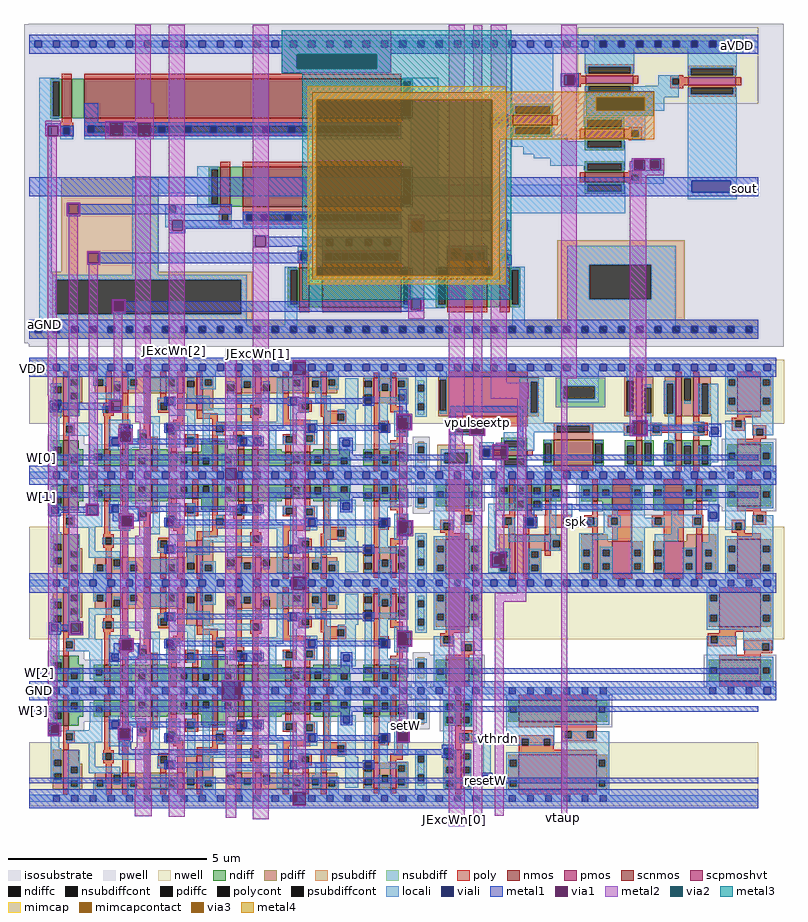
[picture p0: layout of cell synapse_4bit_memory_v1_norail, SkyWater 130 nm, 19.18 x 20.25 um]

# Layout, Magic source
magic
tech sky130A
magscale 1 2
<< isosubstrate >>
rect 2868 9593 6679 11223
<< nwell >>
rect 2871 9205 3046 9526
rect 4828 9205 4882 9526
rect 6384 9205 6551 9526
rect 4927 8684 6222 8685
rect 2871 8117 2956 8683
rect 4927 8672 6551 8684
rect 4927 8380 6222 8672
rect 6296 8380 6551 8672
rect 4927 8116 6551 8380
rect 2871 7274 2957 7595
rect 4888 7274 6551 7595
rect 5186 7273 6551 7274
<< psubdiff >>
rect 2871 9671 3169 9700
<< locali >>
rect 6387 11107 6551 11136
rect 6387 11103 6507 11107
rect 2922 9697 3366 9757
rect 2878 9663 6522 9697
rect 6544 9663 6551 9697
rect 2873 9504 2882 9505
rect 2873 9495 2928 9504
rect 2873 9474 2940 9495
rect 2873 9471 2928 9474
rect 6550 9471 6551 9505
rect 5144 9075 5217 9110
rect 5144 9062 5162 9075
rect 5196 9062 5217 9075
rect 5196 9058 5215 9062
rect 2871 8927 2965 8961
rect 6346 8927 6551 8961
rect 5581 8687 5714 8729
rect 2871 8383 2965 8417
rect 4889 8383 5188 8417
rect 6338 8386 6551 8417
rect 6356 8383 6551 8386
rect 2871 7839 3327 7873
rect 5163 7839 6551 7873
rect 5054 7636 5193 7637
rect 5054 7598 5202 7636
rect 5162 7438 5202 7598
rect 5158 7429 5211 7438
rect 5158 7395 5164 7429
rect 5198 7395 5211 7429
rect 5158 7388 5211 7395
rect 2873 7329 3070 7330
rect 2871 7320 3070 7329
rect 2871 7296 2968 7320
rect 2871 7295 2967 7296
rect 5146 7295 6551 7329
<< viali >>
rect 2988 9273 3022 9307
rect 4740 9197 4774 9231
rect 5117 9160 5151 9194
rect 6315 9152 6349 9186
rect 4455 9090 4489 9124
rect 5162 9041 5196 9075
rect 2983 8751 3017 8785
rect 4454 8770 4488 8804
rect 5384 8689 5418 8723
rect 4740 8655 4774 8689
rect 6307 8724 6341 8758
rect 5222 8498 5256 8532
rect 2982 8157 3016 8191
rect 4740 8111 4774 8145
rect 4456 8005 4490 8039
rect 4456 7693 4490 7727
rect 2983 7644 3017 7678
rect 4737 7607 4771 7641
rect 4967 7533 5001 7567
rect 5164 7395 5198 7429
<< metal1 >>
rect 6447 10355 6550 10446
rect 3855 9658 3926 9717
rect 4195 9452 4201 9518
rect 4267 9452 4273 9518
rect 3274 9320 3340 9326
rect 2976 9310 3035 9319
rect 3274 9310 3282 9320
rect 2976 9307 3282 9310
rect 2976 9273 2988 9307
rect 3022 9274 3282 9307
rect 3022 9273 3035 9274
rect 2976 9261 3035 9273
rect 3274 9267 3282 9274
rect 3335 9312 3340 9320
rect 3335 9267 3342 9312
rect 3274 9259 3342 9267
rect 4738 9254 4777 9379
rect 4997 9263 5364 9291
rect 4723 9247 4804 9254
rect 4723 9179 4730 9247
rect 4798 9179 4804 9247
rect 3321 9165 3394 9178
rect 4723 9170 4804 9179
rect 3321 9112 3330 9165
rect 3383 9112 3394 9165
rect 3321 9103 3394 9112
rect 4436 9124 4505 9132
rect 4436 9090 4455 9124
rect 4489 9090 4505 9124
rect 4436 9048 4505 9090
rect 4997 9048 5025 9263
rect 5093 9218 5174 9225
rect 5093 9150 5099 9218
rect 5167 9150 5174 9218
rect 5093 9144 5174 9150
rect 5208 9094 5288 9100
rect 2871 9020 5025 9048
rect 5144 9075 5214 9094
rect 5144 9041 5162 9075
rect 5196 9041 5214 9075
rect 5144 9026 5214 9041
rect 5282 9026 5288 9094
rect 5336 9048 5364 9263
rect 5915 9216 5993 9222
rect 5915 9198 5920 9216
rect 5911 9169 5920 9198
rect 5915 9148 5920 9169
rect 5988 9198 5993 9216
rect 6303 9198 6365 9204
rect 5988 9186 6365 9198
rect 5988 9169 6315 9186
rect 5988 9148 5993 9169
rect 5915 9140 5993 9148
rect 6303 9152 6315 9169
rect 6349 9152 6365 9186
rect 6303 9138 6365 9152
rect 5144 9024 5288 9026
rect 5208 9020 5288 9024
rect 5333 9020 6551 9048
rect 2871 8896 2965 8992
rect 3855 8920 3861 8979
rect 3920 8920 3926 8979
rect 6360 8896 6551 8992
rect 2871 8830 6551 8858
rect 4442 8804 4501 8830
rect 2969 8785 3030 8796
rect 3156 8795 3223 8801
rect 3156 8785 3163 8795
rect 2969 8751 2983 8785
rect 3017 8754 3163 8785
rect 3017 8751 3030 8754
rect 2969 8738 3030 8751
rect 3156 8742 3163 8754
rect 3216 8742 3223 8795
rect 3156 8739 3223 8742
rect 3294 8739 3427 8785
rect 4442 8770 4454 8804
rect 4488 8770 4501 8804
rect 4442 8758 4501 8770
rect 5386 8770 6354 8798
rect 3294 8712 3338 8739
rect 3322 8686 3338 8712
rect 3391 8712 3427 8739
rect 5386 8735 5420 8770
rect 6296 8758 6353 8770
rect 5372 8723 5430 8735
rect 3391 8686 3398 8712
rect 3322 8675 3398 8686
rect 4727 8711 4809 8718
rect 4727 8643 4734 8711
rect 4802 8643 4809 8711
rect 5372 8689 5384 8723
rect 5418 8689 5430 8723
rect 6296 8724 6307 8758
rect 6341 8724 6353 8758
rect 6296 8712 6353 8724
rect 5372 8676 5430 8689
rect 4727 8636 4809 8643
rect 5199 8550 5280 8554
rect 5199 8482 5205 8550
rect 5273 8482 5280 8550
rect 5199 8476 5280 8482
rect 2871 8352 2968 8448
rect 4201 8431 4267 8437
rect 4195 8365 4201 8431
rect 4267 8365 4273 8431
rect 4201 8359 4267 8365
rect 4882 8352 5176 8448
rect 6353 8352 6551 8448
rect 2972 8191 3031 8203
rect 2972 8157 2982 8191
rect 3016 8189 3031 8191
rect 3072 8198 3142 8208
rect 3072 8189 3082 8198
rect 3016 8158 3082 8189
rect 3016 8157 3031 8158
rect 2972 8140 3031 8157
rect 3072 8145 3082 8158
rect 3135 8145 3142 8198
rect 4728 8159 4784 8161
rect 3072 8137 3142 8145
rect 4726 8153 4805 8159
rect 3328 8113 3399 8120
rect 3328 8095 3339 8113
rect 3299 8060 3339 8095
rect 3392 8095 3399 8113
rect 3392 8060 3427 8095
rect 4726 8085 4731 8153
rect 4799 8085 4805 8153
rect 4726 8078 4805 8085
rect 3299 8021 3427 8060
rect 4444 8039 4502 8051
rect 4444 8005 4456 8039
rect 4490 8005 4502 8039
rect 4444 7969 4502 8005
rect 2871 7941 6551 7969
rect 2871 7808 3842 7904
rect 3938 7808 6551 7904
rect 2871 7749 6551 7777
rect 4444 7727 4502 7749
rect 2964 7687 3032 7695
rect 2964 7634 2971 7687
rect 3024 7634 3032 7687
rect 4444 7693 4456 7727
rect 4490 7693 4502 7727
rect 4444 7681 4502 7693
rect 2964 7627 3032 7634
rect 3322 7668 3387 7674
rect 3322 7615 3326 7668
rect 3379 7615 3387 7668
rect 4727 7657 4791 7662
rect 3322 7562 3387 7615
rect 4724 7655 4791 7657
rect 4724 7602 4732 7655
rect 4785 7602 4791 7655
rect 4724 7596 4791 7602
rect 4724 7593 4787 7596
rect 4954 7567 5013 7583
rect 4954 7562 4967 7567
rect 3322 7534 4967 7562
rect 4954 7533 4967 7534
rect 5001 7533 5013 7567
rect 4954 7519 5013 7533
rect 5156 7437 5208 7443
rect 5155 7429 5208 7437
rect 5155 7418 5164 7429
rect 2871 7395 5164 7418
rect 5198 7418 5208 7429
rect 5198 7395 6551 7418
rect 2871 7390 6551 7395
rect 5155 7388 5208 7390
rect 2871 7345 6551 7360
rect 2871 7279 4201 7345
rect 4267 7279 6551 7345
rect 2871 7264 6551 7279
<< via1 >>
rect 4201 9452 4267 9518
rect 3282 9267 3335 9320
rect 4730 9231 4798 9247
rect 4730 9197 4740 9231
rect 4740 9197 4774 9231
rect 4774 9197 4798 9231
rect 4730 9179 4798 9197
rect 3330 9112 3383 9165
rect 5099 9194 5167 9218
rect 5099 9160 5117 9194
rect 5117 9160 5151 9194
rect 5151 9160 5167 9194
rect 5099 9150 5167 9160
rect 5214 9026 5282 9094
rect 5920 9148 5988 9216
rect 3861 8920 3920 8979
rect 3163 8742 3216 8795
rect 3338 8686 3391 8739
rect 4734 8689 4802 8711
rect 4734 8655 4740 8689
rect 4740 8655 4774 8689
rect 4774 8655 4802 8689
rect 4734 8643 4802 8655
rect 5205 8532 5273 8550
rect 5205 8498 5222 8532
rect 5222 8498 5256 8532
rect 5256 8498 5273 8532
rect 5205 8482 5273 8498
rect 4201 8365 4267 8431
rect 3082 8145 3135 8198
rect 3339 8060 3392 8113
rect 4731 8145 4799 8153
rect 4731 8111 4740 8145
rect 4740 8111 4774 8145
rect 4774 8111 4799 8145
rect 4731 8085 4799 8111
rect 3842 7808 3938 7904
rect 2971 7678 3024 7687
rect 2971 7644 2983 7678
rect 2983 7644 3017 7678
rect 3017 7644 3024 7678
rect 2971 7634 3024 7644
rect 3326 7615 3379 7668
rect 4732 7641 4785 7655
rect 4732 7607 4737 7641
rect 4737 7607 4771 7641
rect 4771 7607 4785 7641
rect 4732 7602 4785 7607
rect 4201 7279 4267 7345
<< metal2 >>
rect 2966 9391 3010 9598
rect 3072 9539 3115 10199
rect 2966 9347 3012 9391
rect 2968 7695 3012 9347
rect 3072 8208 3116 9539
rect 3172 8801 3216 9573
rect 3297 9326 3341 9567
rect 3274 9320 3341 9326
rect 3274 9267 3282 9320
rect 3335 9312 3341 9320
rect 3335 9267 3342 9312
rect 3274 9259 3342 9267
rect 3406 9211 3486 9627
rect 3331 9178 3372 9204
rect 3321 9165 3394 9178
rect 3321 9112 3330 9165
rect 3383 9112 3394 9165
rect 3321 9103 3394 9112
rect 3156 8795 3223 8801
rect 3156 8742 3163 8795
rect 3216 8742 3223 8795
rect 3331 8749 3372 9103
rect 3429 9070 3486 9211
rect 3406 8779 3486 9070
rect 3156 8739 3223 8742
rect 3322 8739 3398 8749
rect 3322 8686 3338 8739
rect 3391 8686 3398 8739
rect 3322 8675 3398 8686
rect 3072 8198 3143 8208
rect 3072 8145 3082 8198
rect 3135 8145 3143 8198
rect 3072 8137 3143 8145
rect 3331 8120 3372 8675
rect 3426 8638 3486 8779
rect 3406 8158 3486 8638
rect 3328 8113 3399 8120
rect 3328 8060 3339 8113
rect 3392 8060 3399 8113
rect 3328 8052 3399 8060
rect 3331 7712 3372 8052
rect 3429 8017 3486 8158
rect 2964 7687 3032 7695
rect 2964 7634 2971 7687
rect 3024 7634 3032 7687
rect 3328 7676 3373 7712
rect 3406 7707 3486 8017
rect 2964 7627 3032 7634
rect 3319 7668 3384 7676
rect 3319 7615 3326 7668
rect 3379 7615 3384 7668
rect 3319 7608 3384 7615
rect 3414 7571 3486 7707
rect 3406 7358 3486 7571
rect 3403 7222 3490 7358
rect 3576 7221 3656 9598
rect 3861 8979 3920 9585
rect 3861 7910 3920 8920
rect 3842 7904 3938 7910
rect 3842 7802 3938 7808
rect 3864 7214 3917 7802
rect 4000 7207 4080 9601
rect 4201 9518 4267 9524
rect 4201 8431 4267 9452
rect 4989 9263 5069 9601
rect 4723 9247 4804 9254
rect 4723 9179 4730 9247
rect 4798 9179 4804 9247
rect 4723 9170 4804 9179
rect 4739 8718 4780 9170
rect 4989 9109 5059 9263
rect 5113 9225 5158 11216
rect 5202 9410 5282 9619
rect 5202 9330 5392 9410
rect 5204 9329 5383 9330
rect 5093 9218 5174 9225
rect 5093 9150 5099 9218
rect 5167 9150 5174 9218
rect 5093 9144 5174 9150
rect 4727 8711 4809 8718
rect 4727 8643 4734 8711
rect 4802 8643 4809 8711
rect 4727 8636 4809 8643
rect 4195 8365 4201 8431
rect 4267 8365 4273 8431
rect 4201 7345 4267 8365
rect 4739 8159 4780 8636
rect 4726 8153 4805 8159
rect 4726 8085 4731 8153
rect 4799 8085 4805 8153
rect 4726 8078 4805 8085
rect 4739 7662 4780 8078
rect 4727 7655 4791 7662
rect 4727 7602 4732 7655
rect 4785 7602 4791 7655
rect 4727 7596 4791 7602
rect 4201 7273 4267 7279
rect 4989 7172 5069 9109
rect 5113 7213 5158 9144
rect 5227 9100 5269 9107
rect 5208 9094 5288 9100
rect 5208 9026 5214 9094
rect 5282 9026 5288 9094
rect 5208 9020 5288 9026
rect 5227 8557 5269 9020
rect 5199 8550 5279 8557
rect 5199 8482 5205 8550
rect 5273 8482 5279 8550
rect 5199 8476 5279 8482
rect 5334 8352 5380 9329
rect 5220 8306 5380 8352
rect 5220 7225 5266 8306
rect 5556 7195 5588 9540
rect 5902 9333 5986 9624
rect 5903 9222 5985 9333
rect 5903 9216 5993 9222
rect 5903 9148 5920 9216
rect 5988 9148 5993 9216
rect 5903 9140 5993 9148
use dpi_syn_exc_4bit_fc_v2_norail  dpi_syn_exc_4bit_fc_v2_norail_0
transform 1 0 -9133 0 1 19113
box 11978 -9680 15739 -7893
use sky130_fd_sc_hd__clkdlybuf4s50_1  sky130_fd_sc_hd__clkdlybuf4s50_1_0 $PDKPATH/libs.ref/sky130_fd_sc_hd/mag
transform 1 0 5631 0 -1 8944
box -38 -48 774 592
use sky130_fd_sc_hd__decap_3  sky130_fd_sc_hd__decap_3_0 $PDKPATH/libs.ref/sky130_fd_sc_hd/mag
transform 1 0 4895 0 1 7856
box -38 -48 314 592
use sky130_fd_sc_hd__decap_3  sky130_fd_sc_hd__decap_3_1
transform 1 0 6367 0 1 8944
box -38 -48 314 592
use sky130_fd_sc_hd__decap_3  sky130_fd_sc_hd__decap_3_2
transform 1 0 4895 0 -1 8944
box -38 -48 314 592
use sky130_fd_sc_hd__decap_3  sky130_fd_sc_hd__decap_3_3
transform 1 0 6367 0 -1 8944
box -38 -48 314 592
use sky130_fd_sc_hd__decap_4  sky130_fd_sc_hd__decap_4_0 $PDKPATH/libs.ref/sky130_fd_sc_hd/mag
transform 1 0 6275 0 1 7856
box -38 -48 406 592
use sky130_fd_sc_hd__decap_6  sky130_fd_sc_hd__decap_6_0 $PDKPATH/libs.ref/sky130_fd_sc_hd/mag
transform 1 0 5263 0 -1 7856
box -38 -48 590 592
use sky130_fd_sc_hd__dfrtp_1  sky130_fd_sc_hd__dfrtp_1_20 $PDKPATH/libs.ref/sky130_fd_sc_hd/mag
transform -1 0 4803 0 1 8944
box -38 -48 1878 592
use sky130_fd_sc_hd__dfrtp_1  sky130_fd_sc_hd__dfrtp_1_21
transform -1 0 4803 0 -1 8944
box -38 -48 1878 592
use sky130_fd_sc_hd__dfrtp_1  sky130_fd_sc_hd__dfrtp_1_22
transform -1 0 4803 0 1 7856
box -38 -48 1878 592
use sky130_fd_sc_hd__dfrtp_1  sky130_fd_sc_hd__dfrtp_1_23
transform -1 0 4803 0 -1 7856
box -38 -48 1878 592
use sky130_fd_sc_hd__inv_1  sky130_fd_sc_hd__inv_1_5 $PDKPATH/libs.ref/sky130_fd_sc_hd/mag
transform -1 0 5171 0 -1 7856
box -38 -48 314 592
use sky130_fd_sc_hd__nor2b_1  sky130_fd_sc_hd__nor2b_1_0 $PDKPATH/libs.ref/sky130_fd_sc_hd/mag
transform -1 0 5631 0 -1 8944
box -38 -48 498 592
use sky130_fd_sc_hd__tapvpwrvgnd_1  sky130_fd_sc_hd__tapvpwrvgnd_1_0 $PDKPATH/libs.ref/sky130_fd_sc_hd/mag
transform 1 0 4803 0 1 8944
box -38 -48 130 592
use sky130_fd_sc_hd__tapvpwrvgnd_1  sky130_fd_sc_hd__tapvpwrvgnd_1_24
transform 1 0 4803 0 -1 8944
box -38 -48 130 592
use sky130_fd_sc_hd__tapvpwrvgnd_1  sky130_fd_sc_hd__tapvpwrvgnd_1_27
transform 1 0 4803 0 -1 7856
box -38 -48 130 592
use sky130_fd_sc_hd__tapvpwrvgnd_1  sky130_fd_sc_hd__tapvpwrvgnd_1_28
transform 1 0 4803 0 1 7856
box -38 -48 130 592
use spike_extender  spike_extender_0
transform 1 0 4895 0 1 8944
box -38 -48 1510 592
<< labels >>
flabel locali 5624 8698 5648 8722 1 FreeSans 320 0 0 0 spk
port 1 n
flabel viali 5173 7403 5176 7407 1 FreeSans 320 0 0 0 resetW
port 4 n
flabel metal2 5013 7201 5021 7214 1 FreeSans 320 0 0 0 JExcWn[0]
port 16 n
flabel metal2 5229 7609 5254 7620 1 FreeSans 320 0 0 0 vthrdn
port 19 n
flabel locali 6439 11109 6452 11121 1 FreeSans 320 0 0 0 aVDD
port 20 n
flabel metal1 6470 10374 6492 10406 1 FreeSans 320 0 0 0 sout
port 21 n
flabel metal1 2921 7947 2927 7951 1 FreeSans 320 0 0 0 W[2]
port 8 n
flabel metal2 4023 9552 4032 9567 1 FreeSans 320 0 0 0 JExcWn[1]
port 26 n
flabel metal2 3593 9569 3614 9575 1 FreeSans 320 0 0 0 JExcWn[2]
port 25 n
flabel metal2 3428 9563 3441 9575 1 FreeSans 320 0 0 0 JExcWn[3]
port 24 n
flabel metal1 2929 9030 2940 9037 1 FreeSans 320 0 0 0 W[0]
port 22 n
flabel metal1 2893 7751 2897 7763 1 FreeSans 320 0 0 0 W[3]
port 23 n
flabel locali 2882 9476 2891 9485 1 FreeSans 320 0 0 0 VDD
port 27 n
flabel metal1 2930 8835 2935 8841 1 FreeSans 320 0 0 0 W[1]
port 7 n
flabel metal2 5568 7213 5572 7223 1 FreeSans 320 0 0 0 vtaup
port 28 n
flabel metal2 4767 7674 4773 7690 1 FreeSans 320 0 0 0 setW
port 29 n
flabel metal1 2917 7849 2932 7862 1 FreeSans 320 0 0 0 GND
port 12 n
flabel via1 5127 9209 5140 9210 1 FreeSans 320 0 0 0 vpulseextp
port 30 n
flabel metal2 3874 9551 3885 9562 1 FreeSans 320 0 0 0 GND
port 12 n
flabel locali 2946 9698 2955 9712 1 FreeSans 320 0 0 0 aGND
port 31 n
<< end >>

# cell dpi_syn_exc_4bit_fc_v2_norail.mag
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
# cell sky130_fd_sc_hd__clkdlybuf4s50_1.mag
magic
tech sky130A
magscale 1 2
<< nwell >>
rect -38 261 774 582
<< pwell >>
rect 107 157 619 203
rect 1 21 735 157
rect 30 -17 64 21
<< scnmos >>
rect 81 47 111 131
rect 183 47 283 177
rect 443 47 543 177
rect 608 47 638 131
<< scpmoshvt >>
rect 81 297 111 497
rect 183 333 283 497
rect 443 333 543 497
rect 608 297 638 497
<< ndiff >>
rect 133 131 183 177
rect 27 104 81 131
rect 27 70 36 104
rect 70 70 81 104
rect 27 47 81 70
rect 111 104 183 131
rect 111 70 133 104
rect 167 70 183 104
rect 111 47 183 70
rect 283 104 335 177
rect 283 70 293 104
rect 327 70 335 104
rect 283 47 335 70
rect 390 104 443 177
rect 390 70 398 104
rect 432 70 443 104
rect 390 47 443 70
rect 543 131 593 177
rect 543 104 608 131
rect 543 70 554 104
rect 588 70 608 104
rect 543 47 608 70
rect 638 104 709 131
rect 638 70 652 104
rect 686 70 709 104
rect 638 47 709 70
<< pdiff >>
rect 27 478 81 497
rect 27 444 36 478
rect 70 444 81 478
rect 27 410 81 444
rect 27 376 36 410
rect 70 376 81 410
rect 27 297 81 376
rect 111 478 183 497
rect 111 444 136 478
rect 170 444 183 478
rect 111 410 183 444
rect 111 376 136 410
rect 170 376 183 410
rect 111 333 183 376
rect 283 478 336 497
rect 283 444 294 478
rect 328 444 336 478
rect 283 410 336 444
rect 283 376 294 410
rect 328 376 336 410
rect 283 333 336 376
rect 390 477 443 497
rect 390 443 398 477
rect 432 443 443 477
rect 390 409 443 443
rect 390 375 398 409
rect 432 375 443 409
rect 390 333 443 375
rect 543 478 608 497
rect 543 444 554 478
rect 588 444 608 478
rect 543 410 608 444
rect 543 376 554 410
rect 588 376 608 410
rect 543 333 608 376
rect 111 297 161 333
rect 558 297 608 333
rect 638 477 709 497
rect 638 443 652 477
rect 686 443 709 477
rect 638 409 709 443
rect 638 375 652 409
rect 686 375 709 409
rect 638 297 709 375
<< ndiffc >>
rect 36 70 70 104
rect 133 70 167 104
rect 293 70 327 104
rect 398 70 432 104
rect 554 70 588 104
rect 652 70 686 104
<< pdiffc >>
rect 36 444 70 478
rect 36 376 70 410
rect 136 444 170 478
rect 136 376 170 410
rect 294 444 328 478
rect 294 376 328 410
rect 398 443 432 477
rect 398 375 432 409
rect 554 444 588 478
rect 554 376 588 410
rect 652 443 686 477
rect 652 375 686 409
<< poly >>
rect 81 497 111 523
rect 183 497 283 523
rect 443 497 543 523
rect 608 497 638 523
rect 81 262 111 297
rect 41 249 111 262
rect 183 259 283 333
rect 443 259 543 333
rect 608 265 638 297
rect 41 215 57 249
rect 91 215 111 249
rect 41 203 111 215
rect 161 249 283 259
rect 161 215 177 249
rect 211 215 283 249
rect 161 205 283 215
rect 382 249 543 259
rect 382 215 398 249
rect 432 215 543 249
rect 382 205 543 215
rect 81 131 111 203
rect 183 177 283 205
rect 443 177 543 205
rect 588 249 642 265
rect 588 215 598 249
rect 632 215 642 249
rect 588 199 642 215
rect 608 131 638 199
rect 81 21 111 47
rect 183 21 283 47
rect 443 21 543 47
rect 608 21 638 47
<< polycont >>
rect 57 215 91 249
rect 177 215 211 249
rect 398 215 432 249
rect 598 215 632 249
<< locali >>
rect 0 527 29 561
rect 63 527 121 561
rect 155 527 213 561
rect 247 527 305 561
rect 339 527 397 561
rect 431 527 489 561
rect 523 527 581 561
rect 615 527 673 561
rect 707 527 736 561
rect 17 478 86 493
rect 17 444 36 478
rect 70 444 86 478
rect 17 410 86 444
rect 17 376 36 410
rect 70 376 86 410
rect 17 326 86 376
rect 120 478 186 527
rect 120 444 136 478
rect 170 444 186 478
rect 120 410 186 444
rect 120 376 136 410
rect 170 376 186 410
rect 120 360 186 376
rect 276 478 346 493
rect 276 444 294 478
rect 328 444 346 478
rect 276 410 346 444
rect 276 376 294 410
rect 328 376 346 410
rect 17 292 211 326
rect 141 263 211 292
rect 276 264 346 376
rect 398 477 448 493
rect 432 443 448 477
rect 398 409 448 443
rect 432 375 448 409
rect 398 333 448 375
rect 538 478 604 527
rect 538 444 554 478
rect 588 444 604 478
rect 538 410 604 444
rect 538 376 554 410
rect 588 376 604 410
rect 538 367 604 376
rect 638 477 719 493
rect 638 443 652 477
rect 686 443 719 477
rect 638 409 719 443
rect 638 375 652 409
rect 686 375 719 409
rect 638 338 719 375
rect 398 299 516 333
rect 482 265 516 299
rect 17 249 107 258
rect 17 215 57 249
rect 91 215 107 249
rect 141 249 227 263
rect 141 215 177 249
rect 211 215 227 249
rect 141 205 227 215
rect 276 249 448 264
rect 276 215 398 249
rect 432 215 448 249
rect 276 214 448 215
rect 482 249 635 265
rect 482 215 598 249
rect 632 215 635 249
rect 141 181 211 205
rect 17 147 211 181
rect 17 104 83 147
rect 17 70 36 104
rect 70 70 83 104
rect 17 51 83 70
rect 117 104 183 113
rect 117 70 133 104
rect 167 70 183 104
rect 117 17 183 70
rect 276 104 346 214
rect 482 199 635 215
rect 482 180 516 199
rect 276 70 293 104
rect 327 70 346 104
rect 276 51 346 70
rect 398 146 516 180
rect 398 104 448 146
rect 669 128 719 338
rect 432 70 448 104
rect 398 51 448 70
rect 538 104 604 120
rect 538 70 554 104
rect 588 70 604 104
rect 538 17 604 70
rect 638 104 719 128
rect 638 70 652 104
rect 686 70 719 104
rect 638 51 719 70
rect 0 -17 29 17
rect 63 -17 121 17
rect 155 -17 213 17
rect 247 -17 305 17
rect 339 -17 397 17
rect 431 -17 489 17
rect 523 -17 581 17
rect 615 -17 673 17
rect 707 -17 736 17
<< viali >>
rect 29 527 63 561
rect 121 527 155 561
rect 213 527 247 561
rect 305 527 339 561
rect 397 527 431 561
rect 489 527 523 561
rect 581 527 615 561
rect 673 527 707 561
rect 29 -17 63 17
rect 121 -17 155 17
rect 213 -17 247 17
rect 305 -17 339 17
rect 397 -17 431 17
rect 489 -17 523 17
rect 581 -17 615 17
rect 673 -17 707 17
<< metal1 >>
rect 0 561 736 592
rect 0 527 29 561
rect 63 527 121 561
rect 155 527 213 561
rect 247 527 305 561
rect 339 527 397 561
rect 431 527 489 561
rect 523 527 581 561
rect 615 527 673 561
rect 707 527 736 561
rect 0 496 736 527
rect 0 17 736 48
rect 0 -17 29 17
rect 63 -17 121 17
rect 155 -17 213 17
rect 247 -17 305 17
rect 339 -17 397 17
rect 431 -17 489 17
rect 523 -17 581 17
rect 615 -17 673 17
rect 707 -17 736 17
rect 0 -48 736 -17
<< labels >>
flabel locali s 30 221 64 255 0 FreeSans 400 0 0 0 A
port 6 nsew
flabel locali s 676 425 710 459 0 FreeSans 400 0 0 0 X
port 7 nsew
flabel locali s 676 357 710 391 0 FreeSans 400 0 0 0 X
port 7 nsew
flabel locali s 676 289 710 323 0 FreeSans 400 0 0 0 X
port 7 nsew
flabel locali s 676 221 710 255 0 FreeSans 400 0 0 0 X
port 7 nsew
flabel locali s 676 153 710 187 0 FreeSans 400 0 0 0 X
port 7 nsew
flabel locali s 676 85 710 119 0 FreeSans 400 0 0 0 X
port 7 nsew
flabel pwell s 30 -17 64 17 0 FreeSans 200 0 0 0 VNB
port 2 nsew
flabel nwell s 30 527 64 561 0 FreeSans 200 0 0 0 VPB
port 3 nsew
flabel metal1 s 30 -17 64 17 0 FreeSans 200 0 0 0 VGND
port 4 nsew
flabel metal1 s 30 527 64 561 0 FreeSans 200 0 0 0 VPWR
port 5 nsew
rlabel comment s 0 0 0 0 4 clkdlybuf4s50_1
<< properties >>
string FIXED_BBOX 0 0 736 544
string path 0.000 0.000 3.680 0.000 
<< end >>

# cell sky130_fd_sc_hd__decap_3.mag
magic
tech sky130A
magscale 1 2
<< nwell >>
rect -38 261 314 582
<< pwell >>
rect 1 21 275 183
rect 29 -17 63 21
<< scnmos >>
rect 79 47 197 157
<< scpmoshvt >>
rect 79 323 197 497
<< ndiff >>
rect 27 114 79 157
rect 27 80 35 114
rect 69 80 79 114
rect 27 47 79 80
rect 197 114 249 157
rect 197 80 207 114
rect 241 80 249 114
rect 197 47 249 80
<< pdiff >>
rect 27 485 79 497
rect 27 451 35 485
rect 69 451 79 485
rect 27 390 79 451
rect 27 356 35 390
rect 69 356 79 390
rect 27 323 79 356
rect 197 485 249 497
rect 197 451 207 485
rect 241 451 249 485
rect 197 390 249 451
rect 197 356 207 390
rect 241 356 249 390
rect 197 323 249 356
<< ndiffc >>
rect 35 80 69 114
rect 207 80 241 114
<< pdiffc >>
rect 35 451 69 485
rect 35 356 69 390
rect 207 451 241 485
rect 207 356 241 390
<< poly >>
rect 79 497 197 523
rect 79 293 197 323
rect 79 291 117 293
rect 51 275 117 291
rect 51 241 67 275
rect 101 241 117 275
rect 51 225 117 241
rect 159 235 225 251
rect 159 201 175 235
rect 209 201 225 235
rect 159 185 225 201
rect 159 183 197 185
rect 79 157 197 183
rect 79 21 197 47
<< polycont >>
rect 67 241 101 275
rect 175 201 209 235
<< locali >>
rect 0 527 29 561
rect 63 527 121 561
rect 155 527 213 561
rect 247 527 276 561
rect 17 485 259 527
rect 17 451 35 485
rect 69 451 207 485
rect 241 451 259 485
rect 17 390 259 451
rect 17 356 35 390
rect 69 356 207 390
rect 241 356 259 390
rect 17 309 259 356
rect 17 241 67 275
rect 101 241 121 275
rect 17 167 121 241
rect 155 235 259 309
rect 155 201 175 235
rect 209 201 259 235
rect 17 114 259 167
rect 17 80 35 114
rect 69 80 207 114
rect 241 80 259 114
rect 17 17 259 80
rect 0 -17 29 17
rect 63 -17 121 17
rect 155 -17 213 17
rect 247 -17 276 17
<< viali >>
rect 29 527 63 561
rect 121 527 155 561
rect 213 527 247 561
rect 29 -17 63 17
rect 121 -17 155 17
rect 213 -17 247 17
<< metal1 >>
rect 0 561 276 592
rect 0 527 29 561
rect 63 527 121 561
rect 155 527 213 561
rect 247 527 276 561
rect 0 496 276 527
rect 0 17 276 48
rect 0 -17 29 17
rect 63 -17 121 17
rect 155 -17 213 17
rect 247 -17 276 17
rect 0 -48 276 -17
<< labels >>
flabel metal1 s 29 527 63 561 0 FreeSans 200 0 0 0 VPWR
port 2 nsew
flabel metal1 s 29 -17 63 17 0 FreeSans 200 0 0 0 VGND
port 3 nsew
flabel nwell s 29 527 63 561 0 FreeSans 200 0 0 0 VPB
port 4 nsew
flabel pwell s 29 -17 63 17 0 FreeSans 200 0 0 0 VNB
port 5 nsew
rlabel comment s 0 0 0 0 4 decap_3
<< properties >>
string FIXED_BBOX 0 0 276 544
string path 0.000 0.000 6.900 0.000 
<< end >>

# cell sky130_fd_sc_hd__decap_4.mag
magic
tech sky130A
magscale 1 2
<< nwell >>
rect -38 261 406 582
<< pwell >>
rect 1 21 367 183
rect 29 -17 63 21
<< scnmos >>
rect 79 47 289 157
<< scpmoshvt >>
rect 79 323 289 497
<< ndiff >>
rect 27 119 79 157
rect 27 85 35 119
rect 69 85 79 119
rect 27 47 79 85
rect 289 119 341 157
rect 289 85 299 119
rect 333 85 341 119
rect 289 47 341 85
<< pdiff >>
rect 27 485 79 497
rect 27 451 35 485
rect 69 451 79 485
rect 27 383 79 451
rect 27 349 35 383
rect 69 349 79 383
rect 27 323 79 349
rect 289 485 341 497
rect 289 451 299 485
rect 333 451 341 485
rect 289 383 341 451
rect 289 349 299 383
rect 333 349 341 383
rect 289 323 341 349
<< ndiffc >>
rect 35 85 69 119
rect 299 85 333 119
<< pdiffc >>
rect 35 451 69 485
rect 35 349 69 383
rect 299 451 333 485
rect 299 349 333 383
<< poly >>
rect 79 497 289 523
rect 79 297 289 323
rect 79 291 163 297
rect 21 275 163 291
rect 21 241 37 275
rect 71 241 163 275
rect 21 225 163 241
rect 205 239 347 255
rect 205 205 297 239
rect 331 205 347 239
rect 205 189 347 205
rect 205 183 289 189
rect 79 157 289 183
rect 79 21 289 47
<< polycont >>
rect 37 241 71 275
rect 297 205 331 239
<< locali >>
rect 0 527 29 561
rect 63 527 121 561
rect 155 527 213 561
rect 247 527 305 561
rect 339 527 368 561
rect 17 485 351 527
rect 17 451 35 485
rect 69 451 299 485
rect 333 451 351 485
rect 17 383 351 451
rect 17 349 35 383
rect 69 349 299 383
rect 333 349 351 383
rect 17 309 351 349
rect 17 241 37 275
rect 71 241 167 275
rect 17 171 167 241
rect 201 239 351 309
rect 201 205 297 239
rect 331 205 351 239
rect 17 119 351 171
rect 17 85 35 119
rect 69 85 299 119
rect 333 85 351 119
rect 17 17 351 85
rect 0 -17 29 17
rect 63 -17 121 17
rect 155 -17 213 17
rect 247 -17 305 17
rect 339 -17 368 17
<< viali >>
rect 29 527 63 561
rect 121 527 155 561
rect 213 527 247 561
rect 305 527 339 561
rect 29 -17 63 17
rect 121 -17 155 17
rect 213 -17 247 17
rect 305 -17 339 17
<< metal1 >>
rect 0 561 368 592
rect 0 527 29 561
rect 63 527 121 561
rect 155 527 213 561
rect 247 527 305 561
rect 339 527 368 561
rect 0 496 368 527
rect 0 17 368 48
rect 0 -17 29 17
rect 63 -17 121 17
rect 155 -17 213 17
rect 247 -17 305 17
rect 339 -17 368 17
rect 0 -48 368 -17
<< labels >>
flabel metal1 s 29 -17 63 17 0 FreeSans 200 0 0 0 VGND
port 2 nsew
flabel metal1 s 29 527 63 561 0 FreeSans 200 0 0 0 VPWR
port 3 nsew
flabel nwell s 29 527 63 561 0 FreeSans 200 0 0 0 VPB
port 4 nsew
flabel pwell s 29 -17 63 17 0 FreeSans 200 0 0 0 VNB
port 5 nsew
rlabel comment s 0 0 0 0 4 decap_4
<< properties >>
string FIXED_BBOX 0 0 368 544
string path 0.000 0.000 1.840 0.000 
<< end >>

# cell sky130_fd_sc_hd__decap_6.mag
magic
tech sky130A
magscale 1 2
<< nwell >>
rect -38 261 590 582
<< pwell >>
rect 1 21 551 183
rect 29 -17 63 21
<< scnmos >>
rect 79 47 473 157
<< scpmoshvt >>
rect 79 323 473 497
<< ndiff >>
rect 27 112 79 157
rect 27 78 35 112
rect 69 78 79 112
rect 27 47 79 78
rect 473 112 525 157
rect 473 78 483 112
rect 517 78 525 112
rect 473 47 525 78
<< pdiff >>
rect 27 485 79 497
rect 27 451 35 485
rect 69 451 79 485
rect 27 383 79 451
rect 27 349 35 383
rect 69 349 79 383
rect 27 323 79 349
rect 473 485 525 497
rect 473 451 483 485
rect 517 451 525 485
rect 473 383 525 451
rect 473 349 483 383
rect 517 349 525 383
rect 473 323 525 349
<< ndiffc >>
rect 35 78 69 112
rect 483 78 517 112
<< pdiffc >>
rect 35 451 69 485
rect 35 349 69 383
rect 483 451 517 485
rect 483 349 517 383
<< poly >>
rect 79 497 473 523
rect 79 297 473 323
rect 79 275 255 297
rect 79 241 95 275
rect 129 241 205 275
rect 239 241 255 275
rect 79 225 255 241
rect 297 239 473 255
rect 297 205 313 239
rect 347 205 423 239
rect 457 205 473 239
rect 297 183 473 205
rect 79 157 473 183
rect 79 21 473 47
<< polycont >>
rect 95 241 129 275
rect 205 241 239 275
rect 313 205 347 239
rect 423 205 457 239
<< locali >>
rect 0 527 29 561
rect 63 527 121 561
rect 155 527 213 561
rect 247 527 305 561
rect 339 527 397 561
rect 431 527 489 561
rect 523 527 552 561
rect 17 485 535 527
rect 17 451 35 485
rect 69 451 483 485
rect 517 451 535 485
rect 17 383 535 451
rect 17 349 35 383
rect 69 349 483 383
rect 517 349 535 383
rect 17 309 535 349
rect 17 241 95 275
rect 129 241 205 275
rect 239 241 259 275
rect 17 171 259 241
rect 293 239 535 309
rect 293 205 313 239
rect 347 205 423 239
rect 457 205 535 239
rect 17 112 535 171
rect 17 78 35 112
rect 69 78 483 112
rect 517 78 535 112
rect 17 17 535 78
rect 0 -17 29 17
rect 63 -17 121 17
rect 155 -17 213 17
rect 247 -17 305 17
rect 339 -17 397 17
rect 431 -17 489 17
rect 523 -17 552 17
<< viali >>
rect 29 527 63 561
rect 121 527 155 561
rect 213 527 247 561
rect 305 527 339 561
rect 397 527 431 561
rect 489 527 523 561
rect 29 -17 63 17
rect 121 -17 155 17
rect 213 -17 247 17
rect 305 -17 339 17
rect 397 -17 431 17
rect 489 -17 523 17
<< metal1 >>
rect 0 561 552 592
rect 0 527 29 561
rect 63 527 121 561
rect 155 527 213 561
rect 247 527 305 561
rect 339 527 397 561
rect 431 527 489 561
rect 523 527 552 561
rect 0 496 552 527
rect 0 17 552 48
rect 0 -17 29 17
rect 63 -17 121 17
rect 155 -17 213 17
rect 247 -17 305 17
rect 339 -17 397 17
rect 431 -17 489 17
rect 523 -17 552 17
rect 0 -48 552 -17
<< labels >>
flabel metal1 s 29 527 63 561 0 FreeSans 200 0 0 0 VPWR
port 2 nsew
flabel metal1 s 29 -17 63 17 0 FreeSans 200 0 0 0 VGND
port 3 nsew
flabel nwell s 29 527 63 561 0 FreeSans 200 0 0 0 VPB
port 4 nsew
flabel pwell s 29 -17 63 17 0 FreeSans 200 0 0 0 VNB
port 5 nsew
rlabel comment s 0 0 0 0 4 decap_6
<< properties >>
string FIXED_BBOX 0 0 552 544
string path 0.000 0.000 13.800 0.000 
<< end >>

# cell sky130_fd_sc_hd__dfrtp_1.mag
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
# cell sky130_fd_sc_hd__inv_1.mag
magic
tech sky130A
magscale 1 2
<< nwell >>
rect -38 261 314 582
<< pwell >>
rect 42 21 228 203
rect 42 17 63 21
rect 29 -17 63 17
<< scnmos >>
rect 120 47 150 177
<< scpmoshvt >>
rect 120 297 150 497
<< ndiff >>
rect 68 165 120 177
rect 68 131 76 165
rect 110 131 120 165
rect 68 97 120 131
rect 68 63 76 97
rect 110 63 120 97
rect 68 47 120 63
rect 150 165 202 177
rect 150 131 160 165
rect 194 131 202 165
rect 150 97 202 131
rect 150 63 160 97
rect 194 63 202 97
rect 150 47 202 63
<< pdiff >>
rect 68 485 120 497
rect 68 451 76 485
rect 110 451 120 485
rect 68 417 120 451
rect 68 383 76 417
rect 110 383 120 417
rect 68 349 120 383
rect 68 315 76 349
rect 110 315 120 349
rect 68 297 120 315
rect 150 485 202 497
rect 150 451 160 485
rect 194 451 202 485
rect 150 417 202 451
rect 150 383 160 417
rect 194 383 202 417
rect 150 349 202 383
rect 150 315 160 349
rect 194 315 202 349
rect 150 297 202 315
<< ndiffc >>
rect 76 131 110 165
rect 76 63 110 97
rect 160 131 194 165
rect 160 63 194 97
<< pdiffc >>
rect 76 451 110 485
rect 76 383 110 417
rect 76 315 110 349
rect 160 451 194 485
rect 160 383 194 417
rect 160 315 194 349
<< poly >>
rect 120 497 150 523
rect 120 265 150 297
rect 64 249 150 265
rect 64 215 80 249
rect 114 215 150 249
rect 64 199 150 215
rect 120 177 150 199
rect 120 21 150 47
<< polycont >>
rect 80 215 114 249
<< locali >>
rect 0 527 29 561
rect 63 527 121 561
rect 155 527 213 561
rect 247 527 276 561
rect 68 485 110 527
rect 68 451 76 485
rect 68 417 110 451
rect 68 383 76 417
rect 68 349 110 383
rect 68 315 76 349
rect 68 299 110 315
rect 144 485 210 493
rect 144 451 160 485
rect 194 451 210 485
rect 144 417 210 451
rect 144 383 160 417
rect 194 383 210 417
rect 144 349 210 383
rect 144 315 160 349
rect 194 315 210 349
rect 144 297 210 315
rect 64 249 130 263
rect 64 215 80 249
rect 114 215 130 249
rect 64 165 110 181
rect 164 177 210 297
rect 64 131 76 165
rect 64 97 110 131
rect 64 63 76 97
rect 64 17 110 63
rect 144 165 210 177
rect 144 131 160 165
rect 194 131 210 165
rect 144 97 210 131
rect 144 63 160 97
rect 194 63 210 97
rect 144 51 210 63
rect 0 -17 29 17
rect 63 -17 121 17
rect 155 -17 213 17
rect 247 -17 276 17
<< viali >>
rect 29 527 63 561
rect 121 527 155 561
rect 213 527 247 561
rect 29 -17 63 17
rect 121 -17 155 17
rect 213 -17 247 17
<< metal1 >>
rect 0 561 276 592
rect 0 527 29 561
rect 63 527 121 561
rect 155 527 213 561
rect 247 527 276 561
rect 0 496 276 527
rect 0 17 276 48
rect 0 -17 29 17
rect 63 -17 121 17
rect 155 -17 213 17
rect 247 -17 276 17
rect 0 -48 276 -17
<< labels >>
flabel locali s 164 289 198 323 0 FreeSans 340 0 0 0 Y
port 7 nsew
flabel locali s 164 221 198 255 0 FreeSans 340 0 0 0 Y
port 7 nsew
flabel locali s 72 221 106 255 0 FreeSans 340 0 0 0 A
port 6 nsew
flabel nwell s 29 527 63 561 0 FreeSans 200 0 0 0 VPB
port 2 nsew
flabel pwell s 29 -17 63 17 0 FreeSans 200 0 0 0 VNB
port 3 nsew
flabel metal1 s 29 -17 63 17 0 FreeSans 200 0 0 0 VGND
port 4 nsew
flabel metal1 s 29 527 63 561 0 FreeSans 200 0 0 0 VPWR
port 5 nsew
rlabel comment s 0 0 0 0 4 inv_1
<< properties >>
string FIXED_BBOX 0 0 276 544
string path 0.000 0.000 1.380 0.000 
<< end >>

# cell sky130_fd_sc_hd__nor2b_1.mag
magic
tech sky130A
magscale 1 2
<< nwell >>
rect -38 261 498 582
<< pwell >>
rect 145 157 415 203
rect 48 21 415 157
rect 48 17 63 21
rect 29 -17 63 17
<< scnmos >>
rect 126 47 156 131
rect 223 47 253 177
rect 307 47 337 177
<< scpmoshvt >>
rect 127 297 157 381
rect 235 297 265 497
rect 307 297 337 497
<< ndiff >>
rect 171 163 223 177
rect 171 131 179 163
rect 74 108 126 131
rect 74 74 82 108
rect 116 74 126 108
rect 74 47 126 74
rect 156 129 179 131
rect 213 129 223 163
rect 156 95 223 129
rect 156 61 179 95
rect 213 61 223 95
rect 156 47 223 61
rect 253 163 307 177
rect 253 129 263 163
rect 297 129 307 163
rect 253 95 307 129
rect 253 61 263 95
rect 297 61 307 95
rect 253 47 307 61
rect 337 95 389 177
rect 337 61 347 95
rect 381 61 389 95
rect 337 47 389 61
<< pdiff >>
rect 183 485 235 497
rect 183 451 191 485
rect 225 451 235 485
rect 183 417 235 451
rect 183 383 191 417
rect 225 383 235 417
rect 183 381 235 383
rect 75 363 127 381
rect 75 329 83 363
rect 117 329 127 363
rect 75 297 127 329
rect 157 297 235 381
rect 265 297 307 497
rect 337 485 389 497
rect 337 451 347 485
rect 381 451 389 485
rect 337 417 389 451
rect 337 383 347 417
rect 381 383 389 417
rect 337 297 389 383
<< ndiffc >>
rect 82 74 116 108
rect 179 129 213 163
rect 179 61 213 95
rect 263 129 297 163
rect 263 61 297 95
rect 347 61 381 95
<< pdiffc >>
rect 191 451 225 485
rect 191 383 225 417
rect 83 329 117 363
rect 347 451 381 485
rect 347 383 381 417
<< poly >>
rect 235 497 265 523
rect 307 497 337 523
rect 127 381 157 407
rect 127 265 157 297
rect 235 265 265 297
rect 21 249 157 265
rect 21 215 31 249
rect 65 215 157 249
rect 21 199 157 215
rect 199 249 265 265
rect 199 215 215 249
rect 249 215 265 249
rect 199 199 265 215
rect 307 265 337 297
rect 307 249 373 265
rect 307 215 323 249
rect 357 215 373 249
rect 307 199 373 215
rect 126 131 156 199
rect 223 177 253 199
rect 307 177 337 199
rect 126 21 156 47
rect 223 21 253 47
rect 307 21 337 47
<< polycont >>
rect 31 215 65 249
rect 215 215 249 249
rect 323 215 357 249
<< locali >>
rect 0 527 29 561
rect 63 527 121 561
rect 155 527 213 561
rect 247 527 305 561
rect 339 527 397 561
rect 431 527 460 561
rect 175 485 241 527
rect 175 451 191 485
rect 225 451 241 485
rect 175 417 241 451
rect 175 383 191 417
rect 225 383 241 417
rect 83 363 135 381
rect 175 371 241 383
rect 331 485 443 493
rect 331 451 347 485
rect 381 451 443 485
rect 331 417 443 451
rect 331 383 347 417
rect 381 383 443 417
rect 331 370 443 383
rect 117 336 135 363
rect 117 329 341 336
rect 83 302 341 329
rect 20 249 65 265
rect 20 215 31 249
rect 20 145 65 215
rect 99 109 135 302
rect 192 249 265 265
rect 192 215 215 249
rect 249 215 265 249
rect 307 249 341 302
rect 307 215 323 249
rect 357 215 373 249
rect 192 213 265 215
rect 407 179 443 370
rect 66 108 135 109
rect 66 74 82 108
rect 116 74 135 108
rect 171 163 213 179
rect 171 129 179 163
rect 171 95 213 129
rect 171 61 179 95
rect 171 17 213 61
rect 247 163 443 179
rect 247 129 263 163
rect 297 145 443 163
rect 297 129 313 145
rect 247 95 313 129
rect 247 61 263 95
rect 297 61 313 95
rect 247 51 313 61
rect 347 95 424 111
rect 381 61 424 95
rect 347 17 424 61
rect 0 -17 29 17
rect 63 -17 121 17
rect 155 -17 213 17
rect 247 -17 305 17
rect 339 -17 397 17
rect 431 -17 460 17
<< viali >>
rect 29 527 63 561
rect 121 527 155 561
rect 213 527 247 561
rect 305 527 339 561
rect 397 527 431 561
rect 29 -17 63 17
rect 121 -17 155 17
rect 213 -17 247 17
rect 305 -17 339 17
rect 397 -17 431 17
<< metal1 >>
rect 0 561 460 592
rect 0 527 29 561
rect 63 527 121 561
rect 155 527 213 561
rect 247 527 305 561
rect 339 527 397 561
rect 431 527 460 561
rect 0 496 460 527
rect 0 17 460 48
rect 0 -17 29 17
rect 63 -17 121 17
rect 155 -17 213 17
rect 247 -17 305 17
rect 339 -17 397 17
rect 431 -17 460 17
rect 0 -48 460 -17
<< labels >>
flabel locali s 29 221 63 255 0 FreeSans 400 180 0 0 B_N
port 6 nsew
flabel locali s 397 425 431 459 0 FreeSans 400 180 0 0 Y
port 8 nsew
flabel locali s 213 221 247 255 0 FreeSans 400 180 0 0 A
port 7 nsew
flabel nwell s 29 527 63 561 0 FreeSans 200 0 0 0 VPB
port 2 nsew
flabel pwell s 29 -17 63 17 0 FreeSans 200 0 0 0 VNB
port 3 nsew
flabel metal1 s 29 -17 63 17 0 FreeSans 200 0 0 0 VGND
port 4 nsew
flabel metal1 s 29 527 63 561 0 FreeSans 200 0 0 0 VPWR
port 5 nsew
rlabel comment s 0 0 0 0 4 nor2b_1
<< properties >>
string FIXED_BBOX 0 0 460 544
string path 0.000 0.000 2.300 0.000 
<< end >>

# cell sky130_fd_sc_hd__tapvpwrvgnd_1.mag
magic
tech sky130A
magscale 1 2
<< nwell >>
rect -38 261 130 582
<< pwell >>
rect 3 38 89 195
<< psubdiff >>
rect 29 145 63 169
rect 29 64 63 111
<< nsubdiff >>
rect 29 456 63 480
rect 29 363 63 422
rect 29 305 63 329
<< psubdiffcont >>
rect 29 111 63 145
<< nsubdiffcont >>
rect 29 422 63 456
rect 29 329 63 363
<< locali >>
rect 0 527 29 561
rect 63 527 92 561
rect 17 456 75 527
rect 17 422 29 456
rect 63 422 75 456
rect 17 363 75 422
rect 17 329 29 363
rect 63 329 75 363
rect 17 294 75 329
rect 17 145 75 162
rect 17 111 29 145
rect 63 111 75 145
rect 17 17 75 111
rect 0 -17 29 17
rect 63 -17 92 17
<< viali >>
rect 29 527 63 561
rect 29 -17 63 17
<< metal1 >>
rect 0 561 92 592
rect 0 527 29 561
rect 63 527 92 561
rect 0 496 92 527
rect 0 17 92 48
rect 0 -17 29 17
rect 63 -17 92 17
rect 0 -48 92 -17
<< labels >>
flabel metal1 s 22 524 75 553 0 FreeSans 200 0 0 0 VPWR
port 2 nsew
flabel metal1 s 21 -18 72 20 0 FreeSans 200 0 0 0 VGND
port 3 nsew
rlabel comment s 0 0 0 0 4 tapvpwrvgnd_1
<< properties >>
string FIXED_BBOX 0 0 92 544
<< end >>

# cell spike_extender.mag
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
